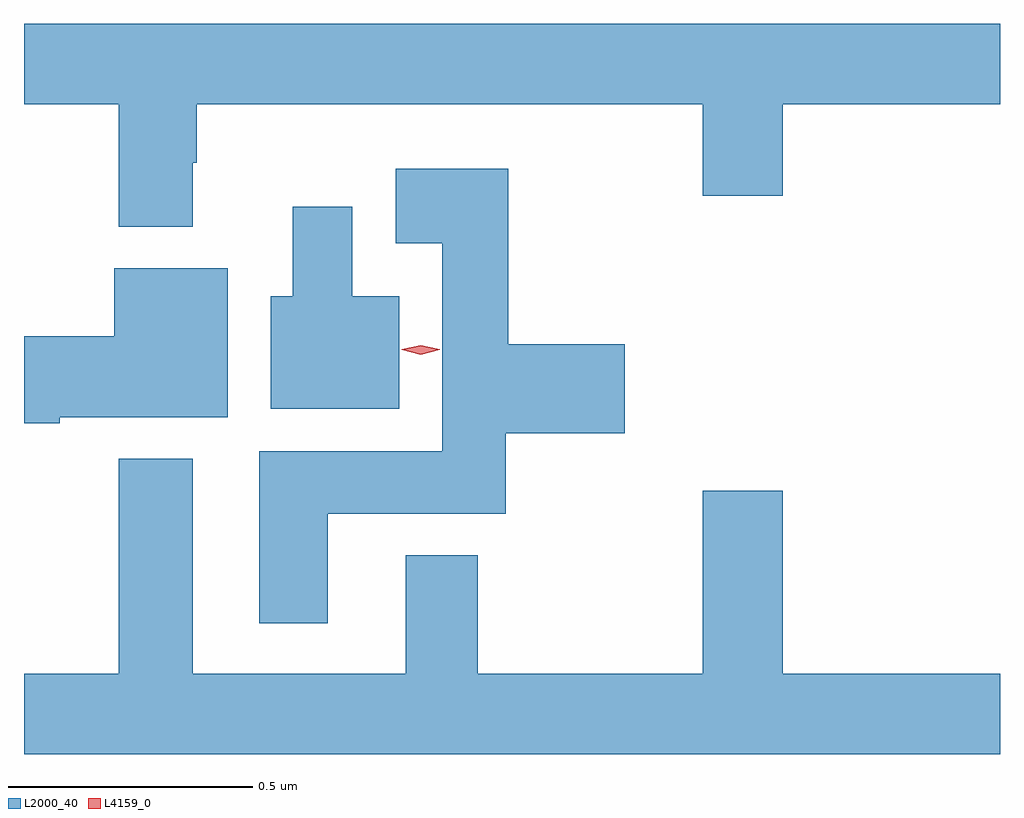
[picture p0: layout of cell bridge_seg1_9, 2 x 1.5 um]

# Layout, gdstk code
import gdstk
lib = gdstk.Library(unit=1e-6, precision=1e-09)
def P(c, l, *ps):  # polygons
    for p in ps: c.add(gdstk.Polygon(p, *l))
L2000_40 = (2000, 40)
L4159_0 = (4159, 0)

bridge_seg1_9 = lib.new_cell('bridge_seg1_9')
P(bridge_seg1_9, L2000_40, [(763.017,513.104),(763.211,513.104),(763.211,512.852),(763.363,512.852),(763.363,512.984),(763.371,512.984),(763.371,513.104),(764.408,513.104),(764.408,512.916),(764.572,512.916),(764.572,513.104),(765.017,513.104),(765.017,513.268),(763.017,513.268)],
  [(763.639,512.264),(764.004,512.264),(764.004,512.429),(764.248,512.429),(764.248,512.612),(764.009,512.612),(764.009,512.971),(763.779,512.971),(763.779,512.819),(763.874,512.819),(763.874,512.392),(763.499,512.392),(763.499,512.04),(763.639,512.04)],
  [(763.786,512.71),(763.69,512.71),(763.69,512.893),(763.568,512.893),(763.568,512.71),(763.523,512.71),(763.523,512.48),(763.786,512.48)],
  [(763.09,512.462),(763.435,512.462),(763.435,512.767),(763.202,512.767),(763.202,512.628),(763.017,512.628),(763.017,512.45),(763.09,512.45)],
  [(765.017,511.936),(764.572,511.936),(764.572,512.311),(764.408,512.311),(764.408,511.936),(763.947,511.936),(763.947,512.179),(763.799,512.179),(763.799,511.936),(763.363,511.936),(763.363,512.377),(763.211,512.377),(763.211,511.936),(763.017,511.936),(763.017,511.772),(765.017,511.772)])
P(bridge_seg1_9, L4159_0, [(763.83,512.59),(763.791,512.6),(763.791,512.6),(763.791,512.601),(763.83,512.61),(763.869,512.601),(763.869,512.6),(763.869,512.6)])

lib.write_gds('bridge_seg1_9.gds')
